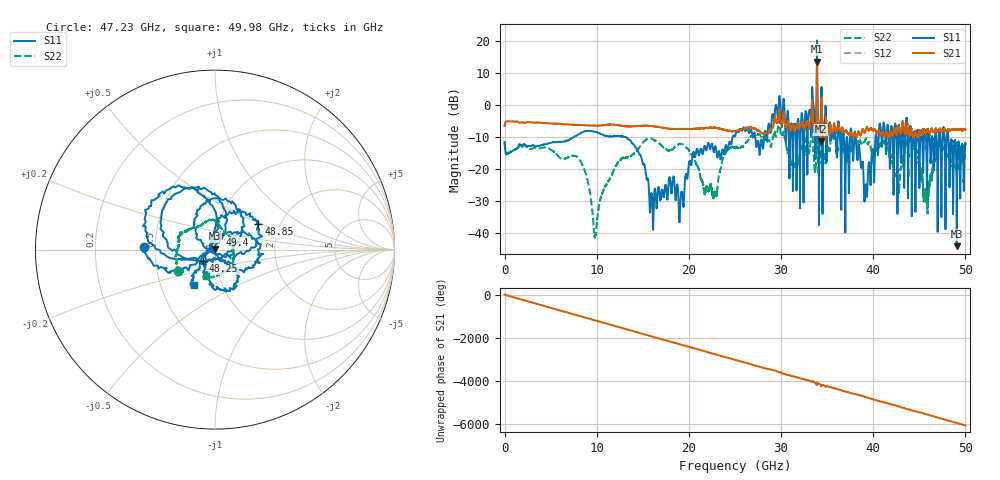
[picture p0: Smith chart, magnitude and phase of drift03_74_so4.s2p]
!Created with skrf (http://scikit-rf.org).
# Hz S RI R 50.0
!freq ReS11 ImS11 ReS21 ImS21 ReS12 ImS12 ReS22 ImS22
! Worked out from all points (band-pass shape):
!   10001 points, 300 kHz to 50 GHz, reference 50 ohm
!   highest |S21| = 13.68 dB at 33.9 GHz (marker M1); lowest = -11.4 dB at 34.32 GHz (marker M2)
!   |S21| within 3 dB of the highest: 33.8902 GHz to 33.90428 GHz (14.08 MHz wide, 0.0415 % of centre)
!   lowest |S11| = -44.2 dB at 49.07 GHz (marker M3), VSWR 1.01, Z = 49.7 + j0.56 ohm
!   |S11| at or under -10 dB: start of sweep to 7.486 GHz; 13.12 GHz to 24.74 GHz (11.62 GHz wide, 61.4 % of centre); 38.09 GHz to 40.25 GHz (2.161 GHz wide, 5.52 % of centre) (the widest 3 of 45)
!   |S22| runs from -41.5 to 6.1 dB; largest |S21 - S12| = 0.35
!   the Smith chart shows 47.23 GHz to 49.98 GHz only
!   S11 on the Smith chart (normalised r, x): 47.23 GHz: 0.43, +0.01; 48.25 GHz: 0.87, -0.11; 48.85 GHz: 1.55, +0.47; 49.4 GHz: 1.05, +0.17; 49.98 GHz: 0.73, -0.31
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300000  -0.2348 -0.1244  0.4653 0.0815  0.4651 0.0809  -0.234 -0.1278
1.440291e9  0.2099 0.0646  -0.5477 -0.0295  -0.5481 -0.0295  0.2115 -0.00386
2.915283e9  -0.212 -0.0877  0.534 0.0514  0.5343 0.0515  -0.2018 0.0401
4.415274e9  0.2059 0.1324  -0.5215 -0.0426  -0.5214 -0.0425  0.1984 -0.0872
8.33525e9  0.2889 -0.2333  0.1459 0.4663  0.1459 0.4665  -0.0725 -0.1016
9.840241e9  -0.3653 0.125  -0.1429 -0.4539  -0.1428 -0.4541  0.00896 0.00215
1.66702e10  0.0273 0.0431  -0.379 0.2529  -0.379 0.2526  -0.1288 -0.2206
2.500015e10  -0.3261 -0.0152  -0.2543 -0.2978  -0.2533 -0.2993  -0.2114 0.0291
2.895513e10  -0.3253 0.4325  -0.2892 0.3264  -0.2992 0.2899  0.0665 0.2234
3.006512e10  0.3972 0.2665  0.4514 -0.1957  0.4534 -0.1818  0.1768 -0.2978
3.171011e10  -0.0953 0.1891  -0.3611 0.3596  -0.3637 0.3561  0.0662 0.159
3.33351e10  0.6468 -0.8276  0.2544 -0.8522  0.2611 -0.8341  -0.1877 -0.4295
3.38951e10  -2.31 -10.07  -4.774 0.7378  -4.475 0.9277  0.4823 1.969
3.432009e10  -0.7776 -0.00148  -0.181 0.1999  -0.2441 0.1792  0.1429 -0.0751
4.167005e10  -0.2076 0.3014  0.3153 0.000926  0.314 0.0101  -0.1922 -0.0147
4.723002e10  -0.3944 0.0125  0.2915 0.3123  0.2928 0.313  -0.2069 -0.1185
4.825001e10  -0.0656 -0.0654  0.1011 -0.397  0.104 -0.3958  -0.0128 0.165
4.884501e10  0.2421 0.1411  -0.3643 -0.2017  -0.3663 -0.1992  0.0998 0.0511
4.906501e10  -0.00252 0.00563  -0.4209 -0.0266  -0.4218 -0.0293  0.0974 0.0137
4.94e10  0.0295 0.0822  -0.3376 0.2486  -0.3376 0.2481  0.1 -0.0644
4.998e10  -0.1175 -0.1985  0.1217 0.3929  0.1214 0.3906  -0.0513 -0.1494
5e10  -0.1192 -0.2284  0.1416 0.3872  0.1426 0.3836  -0.0535 -0.1475
